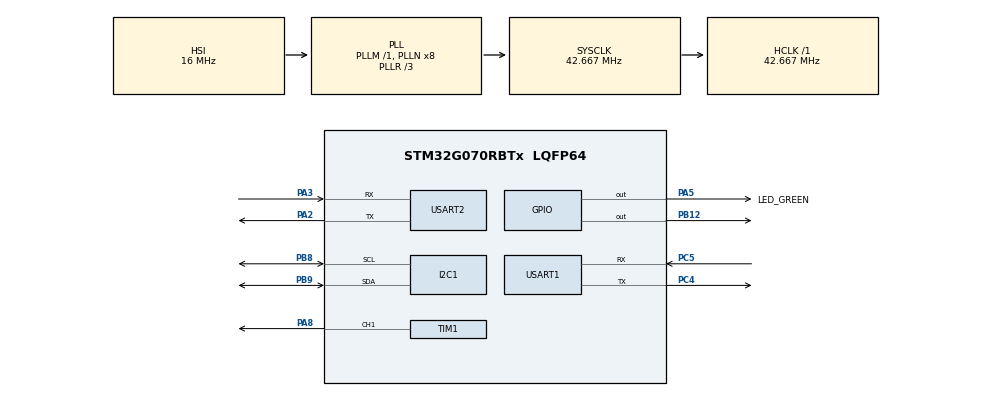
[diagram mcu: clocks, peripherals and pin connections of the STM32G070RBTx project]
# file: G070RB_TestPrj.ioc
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I2C1.Timing=0x00E0A6F2
Mcu.Family=STM32G0
Mcu.Name=STM32G070RBTx
Mcu.Package=LQFP64
PA13.GPIO_Label=TMS
PA13.Mode=Serial_Wire
PA13.Signal=SYS_SWDIO
PA14-BOOT0.GPIO_Label=TCK
PA14-BOOT0.Mode=Serial_Wire
PA14-BOOT0.Signal=SYS_SWCLK
PA2.GPIO_PuPd=GPIO_PULLUP
PA2.Mode=Asynchronous
PA2.Signal=USART2_TX
PA3.GPIO_PuPd=GPIO_PULLUP
PA3.Mode=Asynchronous
PA3.Signal=USART2_RX
PA5.GPIO_Label=LED_GREEN
PA5.GPIO_Speed=GPIO_SPEED_FREQ_HIGH
PA5.Signal=GPIO_Output
PA8.Signal=S_TIM1_CH1
PB12.Signal=GPIO_Output
PB8.Mode=I2C
PB8.Signal=I2C1_SCL
PB9.Mode=I2C
PB9.Signal=I2C1_SDA
PC13.Mode=SYS_WakeUp1
PC13.Signal=SYS_WKUP2
PC14-OSC32_IN\ (PC14).Signal=RCC_OSC32_IN
PC15-OSC32_OUT\ (PC15).Signal=RCC_OSC32_OUT
PC4.Mode=Asynchronous
PC4.Signal=USART1_TX
PC5.Mode=Asynchronous
PC5.Signal=USART1_RX
PF0-OSC_IN\ (PF0).GPIO_Label=MCO
PF0-OSC_IN\ (PF0).Signal=RCC_OSC_IN
ProjectManager.HeapSize=0x200
ProjectManager.StackSize=0x400
ProjectManager.TargetToolchain=CMake
RCC.ADCFreq_Value=42666666.666666664
RCC.AHBFreq_Value=42666666.666666664
RCC.CortexFreq_Value=42666666.666666664
RCC.EXTERNAL_CLOCK_VALUE=12288000
RCC.HCLKFreq_Value=42666666.666666664
RCC.HSE_VALUE=8000000
RCC.HSI_VALUE=16000000
RCC.LSE_VALUE=32768
RCC.PLLR=RCC_PLLR_DIV3
RCC.SYSCLKFreq_VALUE=42666666.666666664
RCC.SYSCLKSource=RCC_SYSCLKSOURCE_PLLCLK
RCC.VCOOutputFreq_Value=128000000
SH.S_TIM1_CH1.0=TIM1_CH1,PWM Generation1 CH1
TIM1.Channel-PWM\ Generation1\ CH1=TIM_CHANNEL_1
USART1.VirtualMode-Asynchronous=VM_ASYNC
USART2.VirtualMode-Asynchronous=VM_ASYNC
USART2.WordLength=WORDLENGTH_8B
VP_TIM1_VS_ClockSourceINT.Mode=Internal
board=NUCLEO-G070RB

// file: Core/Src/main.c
/* USER CODE BEGIN Header */
/**
  ******************************************************************************
  * @file           : main.c
  * @brief          : Main program body
  ******************************************************************************
  * @attention
  *
  * Copyright (c) 2025 STMicroelectronics.
  * All rights reserved.
  *
  * This software is licensed under terms that can be found in the LICENSE file
  * in the root directory of this software component.
  * If no LICENSE file comes with this software, it is provided AS-IS.
  *
  ******************************************************************************
  */
/* USER CODE END Header */
#include "main.h"

/* USER CODE BEGIN Includes */

#include "TestSuite.h"

/* USER CODE END Includes */

/* USER CODE BEGIN PTD */

#pragma region "Tests"

#define READ_BMP180 0

#define READ_MPU60X0_GYRO_ACCEL 0
#define READ_MPU60X0_BOLLA_TEST 0

#define READ_HMC5883L_BUSSOLA 0

#define PWM_BRUSHLESS_CONTROL 1

#pragma endregion

/* USER CODE END PTD */

I2C_HandleTypeDef hi2c1;

TIM_HandleTypeDef htim1;

UART_HandleTypeDef huart1;
UART_HandleTypeDef huart2;

void SystemClock_Config(void);
static void MX_GPIO_Init(void);
static void MX_I2C1_Init(void);
static void MX_USART1_UART_Init(void);
static void MX_USART2_UART_Init(void);
static void MX_TIM1_Init(void);

int main(void)
{

  /* MCU Configuration--------------------------------------------------------*/

  /* Reset of all peripherals, Initializes the Flash interface and the Systick. */
  HAL_Init();

  /* Configure the system clock */
  SystemClock_Config();

  /* Initialize all configured peripherals */
  MX_GPIO_Init();
  MX_I2C1_Init();
  MX_USART1_UART_Init();
  MX_USART2_UART_Init();
  MX_TIM1_Init();
  /* USER CODE BEGIN 2 */

  TestSuite_Init();

  /* USER CODE END 2 */

  /* Infinite loop */
  /* USER CODE BEGIN WHILE */

  #if READ_HMC5883L_BUSSOLA

  #endif

    HAL_TIM_PWM_Start(&htim1, TIM_CHANNEL_1);

  while (1)
  {
    /** Read tests */
    TestSuite_Read_Hmc5883l();
    TestSuite_Read_Bmp180();
    TestSuite_Read_Mpu60x0();

    /** Basic application tests */
    TestSuite_AppBolla_Mpu60x0();
    TestSuite_AppBussola_Hmc5883l();

    /* USER CODE END WHILE */

  }
}

void SystemClock_Config(void)
{
  RCC_OscInitTypeDef RCC_OscInitStruct = {0};
  RCC_ClkInitTypeDef RCC_ClkInitStruct = {0};

  /** Configure the main internal regulator output voltage
  */
  HAL_PWREx_ControlVoltageScaling(PWR_REGULATOR_VOLTAGE_SCALE1);

  /** Initializes the RCC Oscillators according to the specified parameters
  * in the RCC_OscInitTypeDef structure.
  */
  RCC_OscInitStruct.OscillatorType = RCC_OSCILLATORTYPE_HSI;
  RCC_OscInitStruct.HSIState = RCC_HSI_ON;
  RCC_OscInitStruct.HSIDiv = RCC_HSI_DIV1;
  RCC_OscInitStruct.HSICalibrationValue = RCC_HSICALIBRATION_DEFAULT;
  RCC_OscInitStruct.PLL.PLLState = RCC_PLL_ON;
  RCC_OscInitStruct.PLL.PLLSource = RCC_PLLSOURCE_HSI;
  RCC_OscInitStruct.PLL.PLLM = RCC_PLLM_DIV1;
  RCC_OscInitStruct.PLL.PLLN = 8;
  RCC_OscInitStruct.PLL.PLLP = RCC_PLLP_DIV2;
  RCC_OscInitStruct.PLL.PLLR = RCC_PLLR_DIV3;
  if (HAL_RCC_OscConfig(&RCC_OscInitStruct) != HAL_OK)
  {
    Error_Handler();
  }

  /** Initializes the CPU, AHB and APB buses clocks
  */
  RCC_ClkInitStruct.ClockType = RCC_CLOCKTYPE_HCLK|RCC_CLOCKTYPE_SYSCLK
                              |RCC_CLOCKTYPE_PCLK1;
  RCC_ClkInitStruct.SYSCLKSource = RCC_SYSCLKSOURCE_PLLCLK;
  RCC_ClkInitStruct.AHBCLKDivider = RCC_SYSCLK_DIV1;
  RCC_ClkInitStruct.APB1CLKDivider = RCC_HCLK_DIV1;

  if (HAL_RCC_ClockConfig(&RCC_ClkInitStruct, FLASH_LATENCY_1) != HAL_OK)
  {
    Error_Handler();
  }
}

static void MX_I2C1_Init(void)
{

  hi2c1.Instance = I2C1;
  hi2c1.Init.Timing = 0x00E0A6F2;
  hi2c1.Init.OwnAddress1 = 0;
  hi2c1.Init.AddressingMode = I2C_ADDRESSINGMODE_7BIT;
  hi2c1.Init.DualAddressMode = I2C_DUALADDRESS_DISABLE;
  hi2c1.Init.OwnAddress2 = 0;
  hi2c1.Init.OwnAddress2Masks = I2C_OA2_NOMASK;
  hi2c1.Init.GeneralCallMode = I2C_GENERALCALL_DISABLE;
  hi2c1.Init.NoStretchMode = I2C_NOSTRETCH_DISABLE;
  if (HAL_I2C_Init(&hi2c1) != HAL_OK)
  {
    Error_Handler();
  }

  /** Configure Analogue filter
  */
  if (HAL_I2CEx_ConfigAnalogFilter(&hi2c1, I2C_ANALOGFILTER_ENABLE) != HAL_OK)
  {
    Error_Handler();
  }

  /** Configure Digital filter
  */
  if (HAL_I2CEx_ConfigDigitalFilter(&hi2c1, 0) != HAL_OK)
  {
    Error_Handler();
  }

}

static void MX_TIM1_Init(void)
{

  TIM_ClockConfigTypeDef sClockSourceConfig = {0};
  TIM_MasterConfigTypeDef sMasterConfig = {0};
  TIM_OC_InitTypeDef sConfigOC = {0};
  TIM_BreakDeadTimeConfigTypeDef sBreakDeadTimeConfig = {0};

  htim1.Instance = TIM1;
  htim1.Init.Prescaler = 0;
  htim1.Init.CounterMode = TIM_COUNTERMODE_UP;
  htim1.Init.Period = 65535;
  htim1.Init.ClockDivision = TIM_CLOCKDIVISION_DIV1;
  htim1.Init.RepetitionCounter = 0;
  htim1.Init.AutoReloadPreload = TIM_AUTORELOAD_PRELOAD_DISABLE;
  if (HAL_TIM_Base_Init(&htim1) != HAL_OK)
  {
    Error_Handler();
  }
  sClockSourceConfig.ClockSource = TIM_CLOCKSOURCE_INTERNAL;
  if (HAL_TIM_ConfigClockSource(&htim1, &sClockSourceConfig) != HAL_OK)
  {
    Error_Handler();
  }
  if (HAL_TIM_PWM_Init(&htim1) != HAL_OK)
  {
    Error_Handler();
  }
  sMasterConfig.MasterOutputTrigger = TIM_TRGO_RESET;
  sMasterConfig.MasterOutputTrigger2 = TIM_TRGO2_RESET;
  sMasterConfig.MasterSlaveMode = TIM_MASTERSLAVEMODE_DISABLE;
  if (HAL_TIMEx_MasterConfigSynchronization(&htim1, &sMasterConfig) != HAL_OK)
  {
    Error_Handler();
  }
  sConfigOC.OCMode = TIM_OCMODE_PWM1;
  sConfigOC.Pulse = 0;
  sConfigOC.OCPolarity = TIM_OCPOLARITY_HIGH;
  sConfigOC.OCNPolarity = TIM_OCNPOLARITY_HIGH;
  sConfigOC.OCFastMode = TIM_OCFAST_DISABLE;
  sConfigOC.OCIdleState = TIM_OCIDLESTATE_RESET;
  sConfigOC.OCNIdleState = TIM_OCNIDLESTATE_RESET;
  if (HAL_TIM_PWM_ConfigChannel(&htim1, &sConfigOC, TIM_CHANNEL_1) != HAL_OK)
  {
    Error_Handler();
  }
  sBreakDeadTimeConfig.OffStateRunMode = TIM_OSSR_DISABLE;
  sBreakDeadTimeConfig.OffStateIDLEMode = TIM_OSSI_DISABLE;
  sBreakDeadTimeConfig.LockLevel = TIM_LOCKLEVEL_OFF;
  sBreakDeadTimeConfig.DeadTime = 0;
  sBreakDeadTimeConfig.BreakState = TIM_BREAK_DISABLE;
  sBreakDeadTimeConfig.BreakPolarity = TIM_BREAKPOLARITY_HIGH;
  sBreakDeadTimeConfig.BreakFilter = 0;
  sBreakDeadTimeConfig.BreakAFMode = TIM_BREAK_AFMODE_INPUT;
  sBreakDeadTimeConfig.Break2State = TIM_BREAK2_DISABLE;
  sBreakDeadTimeConfig.Break2Polarity = TIM_BREAK2POLARITY_HIGH;
  sBreakDeadTimeConfig.Break2Filter = 0;
  sBreakDeadTimeConfig.Break2AFMode = TIM_BREAK_AFMODE_INPUT;
  sBreakDeadTimeConfig.AutomaticOutput = TIM_AUTOMATICOUTPUT_DISABLE;
  if (HAL_TIMEx_ConfigBreakDeadTime(&htim1, &sBreakDeadTimeConfig) != HAL_OK)
  {
    Error_Handler();
  }
  HAL_TIM_MspPostInit(&htim1);

}

static void MX_USART1_UART_Init(void)
{

  huart1.Instance = USART1;
  huart1.Init.BaudRate = 115200;
  huart1.Init.WordLength = UART_WORDLENGTH_8B;
  huart1.Init.StopBits = UART_STOPBITS_1;
  huart1.Init.Parity = UART_PARITY_NONE;
  huart1.Init.Mode = UART_MODE_TX_RX;
  huart1.Init.HwFlowCtl = UART_HWCONTROL_NONE;
  huart1.Init.OverSampling = UART_OVERSAMPLING_16;
  huart1.Init.OneBitSampling = UART_ONE_BIT_SAMPLE_DISABLE;
  huart1.Init.ClockPrescaler = UART_PRESCALER_DIV1;
  huart1.AdvancedInit.AdvFeatureInit = UART_ADVFEATURE_NO_INIT;
  if (HAL_UART_Init(&huart1) != HAL_OK)
  {
    Error_Handler();
  }
  if (HAL_UARTEx_SetTxFifoThreshold(&huart1, UART_TXFIFO_THRESHOLD_1_8) != HAL_OK)
  {
    Error_Handler();
  }
  if (HAL_UARTEx_SetRxFifoThreshold(&huart1, UART_RXFIFO_THRESHOLD_1_8) != HAL_OK)
  {
    Error_Handler();
  }
  if (HAL_UARTEx_DisableFifoMode(&huart1) != HAL_OK)
  {
    Error_Handler();
  }

}

static void MX_USART2_UART_Init(void)
{

  huart2.Instance = USART2;
  huart2.Init.BaudRate = 115200;
  huart2.Init.WordLength = UART_WORDLENGTH_8B;
  huart2.Init.StopBits = UART_STOPBITS_1;
  huart2.Init.Parity = UART_PARITY_NONE;
  huart2.Init.Mode = UART_MODE_TX_RX;
  huart2.Init.HwFlowCtl = UART_HWCONTROL_NONE;
  huart2.Init.OverSampling = UART_OVERSAMPLING_16;
  huart2.Init.OneBitSampling = UART_ONE_BIT_SAMPLE_DISABLE;
  huart2.Init.ClockPrescaler = UART_PRESCALER_DIV1;
  huart2.AdvancedInit.AdvFeatureInit = UART_ADVFEATURE_NO_INIT;
  if (HAL_UART_Init(&huart2) != HAL_OK)
  {
    Error_Handler();
  }
  if (HAL_UARTEx_SetTxFifoThreshold(&huart2, UART_TXFIFO_THRESHOLD_1_8) != HAL_OK)
  {
    Error_Handler();
  }
  if (HAL_UARTEx_SetRxFifoThreshold(&huart2, UART_RXFIFO_THRESHOLD_1_8) != HAL_OK)
  {
    Error_Handler();
  }
  if (HAL_UARTEx_DisableFifoMode(&huart2) != HAL_OK)
  {
    Error_Handler();
  }

}

static void MX_GPIO_Init(void)
{
  GPIO_InitTypeDef GPIO_InitStruct = {0};

  /* GPIO Ports Clock Enable */
  __HAL_RCC_GPIOC_CLK_ENABLE();
  __HAL_RCC_GPIOF_CLK_ENABLE();
  __HAL_RCC_GPIOA_CLK_ENABLE();
  __HAL_RCC_GPIOB_CLK_ENABLE();

  /*Configure GPIO pin Output Level */
  HAL_GPIO_WritePin(LED_GREEN_GPIO_Port, LED_GREEN_Pin, GPIO_PIN_RESET);

  /*Configure GPIO pin Output Level */
  HAL_GPIO_WritePin(GPIOB, GPIO_PIN_12, GPIO_PIN_RESET);

  /*Configure GPIO pin : LED_GREEN_Pin */
  GPIO_InitStruct.Pin = LED_GREEN_Pin;
  GPIO_InitStruct.Mode = GPIO_MODE_OUTPUT_PP;
  GPIO_InitStruct.Pull = GPIO_NOPULL;
  GPIO_InitStruct.Speed = GPIO_SPEED_FREQ_HIGH;
  HAL_GPIO_Init(LED_GREEN_GPIO_Port, &GPIO_InitStruct);

  /*Configure GPIO pin : PB12 */
  GPIO_InitStruct.Pin = GPIO_PIN_12;
  GPIO_InitStruct.Mode = GPIO_MODE_OUTPUT_PP;
  GPIO_InitStruct.Pull = GPIO_NOPULL;
  GPIO_InitStruct.Speed = GPIO_SPEED_FREQ_LOW;
  HAL_GPIO_Init(GPIOB, &GPIO_InitStruct);

}

void Error_Handler(void)
{
  __disable_irq();
  while (1)
  {
  }
}
